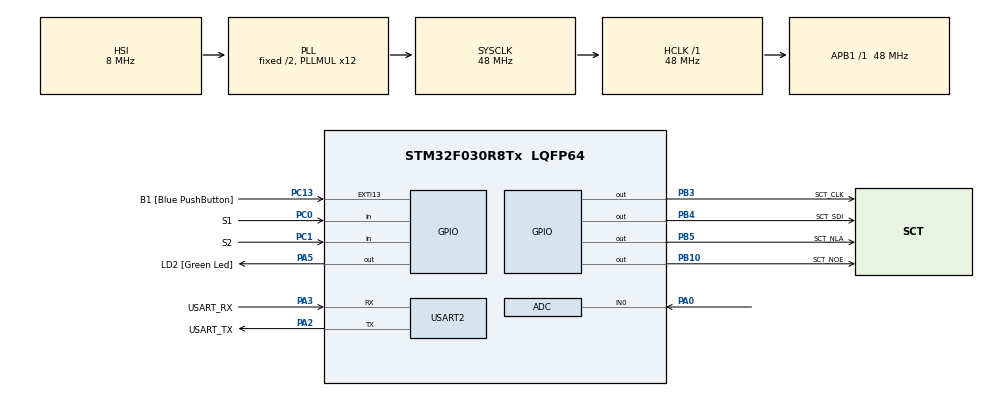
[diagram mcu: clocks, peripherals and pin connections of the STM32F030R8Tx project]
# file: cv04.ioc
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ADC.ContinuousConvMode=ENABLE
ADC.Overrun=ADC_OVR_DATA_OVERWRITTEN
ADC.SamplingTime=ADC_SAMPLETIME_239CYCLES_5
Mcu.Family=STM32F0
Mcu.Name=STM32F030R8Tx
Mcu.Package=LQFP64
NVIC.ADC1_IRQn=true\:0\:0\:false\:false\:true\:true\:true
PA0.Mode=IN0
PA0.Signal=ADC_IN0
PA13.GPIO_Label=TMS
PA13.Mode=Serial_Wire
PA13.Signal=SYS_SWDIO
PA14.GPIO_Label=TCK
PA14.Mode=Serial_Wire
PA14.Signal=SYS_SWCLK
PA2.GPIO_Label=USART_TX
PA2.GPIO_Mode=GPIO_MODE_AF_PP
PA2.GPIO_PuPd=GPIO_NOPULL
PA2.GPIO_Speed=GPIO_SPEED_FREQ_LOW
PA2.Mode=Asynchronous
PA2.Signal=USART2_TX
PA3.GPIO_Label=USART_RX
PA3.GPIO_Mode=GPIO_MODE_AF_PP
PA3.GPIO_PuPd=GPIO_NOPULL
PA3.GPIO_Speed=GPIO_SPEED_FREQ_LOW
PA3.Mode=Asynchronous
PA3.Signal=USART2_RX
PA5.GPIO_Label=LD2 [Green Led]
PA5.GPIO_Mode=GPIO_MODE_OUTPUT_PP
PA5.GPIO_PuPd=GPIO_NOPULL
PA5.GPIO_Speed=GPIO_SPEED_FREQ_LOW
PA5.Signal=GPIO_Output
PB10.GPIO_Label=SCT_NOE
PB10.Signal=GPIO_Output
PB3.GPIO_Label=SCT_CLK
PB3.Signal=GPIO_Output
PB4.GPIO_Label=SCT_SDI
PB4.Signal=GPIO_Output
PB5.GPIO_Label=SCT_NLA
PB5.Signal=GPIO_Output
PC0.GPIO_Label=S1
PC0.GPIO_PuPd=GPIO_PULLUP
PC0.Signal=GPIO_Input
PC1.GPIO_Label=S2
PC1.GPIO_PuPd=GPIO_PULLUP
PC1.Signal=GPIO_Input
PC13.GPIO_Label=B1 [Blue PushButton]
PC13.GPIO_ModeDefaultEXTI=GPIO_MODE_IT_FALLING
PC13.Signal=GPXTI13
PC14-OSC32_IN.Mode=LSE-External-Oscillator
PC14-OSC32_IN.Signal=RCC_OSC32_IN
PC15-OSC32_OUT.Mode=LSE-External-Oscillator
PC15-OSC32_OUT.Signal=RCC_OSC32_OUT
PF0-OSC_IN.Mode=HSE-External-Clock-Source
PF0-OSC_IN.Signal=RCC_OSC_IN
PF1-OSC_OUT.Signal=RCC_OSC_OUT
ProjectManager.HeapSize=0x200
ProjectManager.StackSize=0x400
ProjectManager.TargetToolchain=STM32CubeIDE
RCC.AHBFreq_Value=48000000
RCC.APB1Freq_Value=48000000
RCC.APB1TimFreq_Value=48000000
RCC.HCLKFreq_Value=48000000
RCC.PLLMUL=RCC_PLL_MUL12
RCC.SYSCLKFreq_VALUE=48000000
RCC.SYSCLKSource=RCC_SYSCLKSOURCE_PLLCLK
USART2.VirtualMode-Asynchronous=VM_ASYNC
VP_ADC_TempSens_Input.Mode=IN-TempSens
VP_ADC_Vref_Input.Mode=IN-Vrefint
board=NUCLEO-F030R8

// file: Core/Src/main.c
/* USER CODE BEGIN Header */
/**
 ******************************************************************************
 * @file           : main.c
 * @brief          : Main program body
 ******************************************************************************
 * @attention
 *
 * <h2><center>&copy; Copyright (c) 2020 STMicroelectronics.
 * All rights reserved.</center></h2>
 *
 * This software component is licensed by ST under BSD 3-Clause license,
 * the "License"; You may not use this file except in compliance with the
 * License. You may obtain a copy of the License at:
 *                        opensource.org/licenses/BSD-3-Clause
 *
 ******************************************************************************
 */
/* USER CODE END Header */

#include "main.h"

/* USER CODE BEGIN Includes */
#include "sct.h"
/* USER CODE END Includes */

/* USER CODE BEGIN PD */
#define ADC_Q 12
#define TEMP110_CAL_ADDR ((uint16_t*) ((uint32_t) 0x1FFFF7C2))
#define TEMP30_CAL_ADDR ((uint16_t*) ((uint32_t) 0x1FFFF7B8))
#define VREFINT_CAL_ADDR ((uint16_t*) ((uint32_t) 0x1FFFF7BA))
/* USER CODE END PD */

ADC_HandleTypeDef hadc;

UART_HandleTypeDef huart2;

/* USER CODE BEGIN PV */
static volatile uint32_t raw_pot;
static volatile uint32_t raw_volt;
static volatile uint32_t raw_temp;

/* USER CODE END PV */

void SystemClock_Config(void);
static void MX_GPIO_Init(void);
static void MX_USART2_UART_Init(void);
static void MX_ADC_Init(void);

int main(void)
{

	/* MCU Configuration--------------------------------------------------------*/

	/* Reset of all peripherals, Initializes the Flash interface and the Systick. */
	HAL_Init();

	/* Configure the system clock */
	SystemClock_Config();

	/* Initialize all configured peripherals */
	MX_GPIO_Init();
	MX_USART2_UART_Init();
	MX_ADC_Init();
	/* USER CODE BEGIN 2 */
	HAL_ADCEx_Calibration_Start(&hadc);
	sct_init();
	HAL_ADC_Start_IT(&hadc);
	/* USER CODE END 2 */

	/* Infinite loop */
	while (1)
	{

		/* USER CODE BEGIN 3 */
		static enum { SHOW_POT, SHOW_VOLT, SHOW_TEMP } state = SHOW_POT;
		static uint32_t Tick;

		if (HAL_GPIO_ReadPin(S1_GPIO_Port,S1_Pin) == 0)
		{
			state = SHOW_VOLT;
			Tick = HAL_GetTick();
		}
		if (HAL_GPIO_ReadPin(S2_GPIO_Port,S2_Pin) == 0)
		{
			state = SHOW_TEMP;
			Tick = HAL_GetTick();
		}

		if (state == SHOW_POT)
		{
			sct_value((raw_pot*500)/4096,(raw_pot*9)/4096);
			HAL_Delay(50);
		}

		else if (state == SHOW_VOLT)
		{
			uint32_t voltage = 330 * (*VREFINT_CAL_ADDR) / raw_volt;
			sct_value(voltage,(voltage*9)/4096);
			HAL_Delay(50);
			state = SHOW_VOLT;
			if (HAL_GetTick() > (1000+Tick))
				state = SHOW_POT;
		}

		else if (state == SHOW_TEMP)
		{
			int32_t temperature = (raw_temp - (int32_t)(*TEMP30_CAL_ADDR));
			temperature = temperature * (int32_t)(110 - 30);
			temperature = temperature / (int32_t)(*TEMP110_CAL_ADDR - *TEMP30_CAL_ADDR);
			temperature = temperature + 30;
			sct_value(temperature,(temperature*9)/4096);
			HAL_Delay(50);
			state = SHOW_TEMP;
			if (HAL_GetTick() > (1000+Tick))
				state = SHOW_POT;
		}
	}
	/* USER CODE END 3 */
}

void SystemClock_Config(void)
{
	RCC_OscInitTypeDef RCC_OscInitStruct = {0};
	RCC_ClkInitTypeDef RCC_ClkInitStruct = {0};

	/** Initializes the CPU, AHB and APB busses clocks
	 */
	RCC_OscInitStruct.OscillatorType = RCC_OSCILLATORTYPE_HSI|RCC_OSCILLATORTYPE_HSI14;
	RCC_OscInitStruct.HSIState = RCC_HSI_ON;
	RCC_OscInitStruct.HSI14State = RCC_HSI14_ON;
	RCC_OscInitStruct.HSICalibrationValue = RCC_HSICALIBRATION_DEFAULT;
	RCC_OscInitStruct.HSI14CalibrationValue = 16;
	RCC_OscInitStruct.PLL.PLLState = RCC_PLL_ON;
	RCC_OscInitStruct.PLL.PLLSource = RCC_PLLSOURCE_HSI;
	RCC_OscInitStruct.PLL.PLLMUL = RCC_PLL_MUL12;
	RCC_OscInitStruct.PLL.PREDIV = RCC_PREDIV_DIV1;
	if (HAL_RCC_OscConfig(&RCC_OscInitStruct) != HAL_OK)
	{
		Error_Handler();
	}
	/** Initializes the CPU, AHB and APB busses clocks
	 */
	RCC_ClkInitStruct.ClockType = RCC_CLOCKTYPE_HCLK|RCC_CLOCKTYPE_SYSCLK
			|RCC_CLOCKTYPE_PCLK1;
	RCC_ClkInitStruct.SYSCLKSource = RCC_SYSCLKSOURCE_PLLCLK;
	RCC_ClkInitStruct.AHBCLKDivider = RCC_SYSCLK_DIV1;
	RCC_ClkInitStruct.APB1CLKDivider = RCC_HCLK_DIV1;

	if (HAL_RCC_ClockConfig(&RCC_ClkInitStruct, FLASH_LATENCY_1) != HAL_OK)
	{
		Error_Handler();
	}
}

static void MX_ADC_Init(void)
{

	ADC_ChannelConfTypeDef sConfig = {0};

	/** Configure the global features of the ADC (Clock, Resolution, Data Alignment and number of conversion)
	 */
	hadc.Instance = ADC1;
	hadc.Init.ClockPrescaler = ADC_CLOCK_ASYNC_DIV1;
	hadc.Init.Resolution = ADC_RESOLUTION_12B;
	hadc.Init.DataAlign = ADC_DATAALIGN_RIGHT;
	hadc.Init.ScanConvMode = ADC_SCAN_DIRECTION_FORWARD;
	hadc.Init.EOCSelection = ADC_EOC_SINGLE_CONV;
	hadc.Init.LowPowerAutoWait = DISABLE;
	hadc.Init.LowPowerAutoPowerOff = DISABLE;
	hadc.Init.ContinuousConvMode = ENABLE;
	hadc.Init.DiscontinuousConvMode = DISABLE;
	hadc.Init.ExternalTrigConv = ADC_SOFTWARE_START;
	hadc.Init.ExternalTrigConvEdge = ADC_EXTERNALTRIGCONVEDGE_NONE;
	hadc.Init.DMAContinuousRequests = DISABLE;
	hadc.Init.Overrun = ADC_OVR_DATA_OVERWRITTEN;
	if (HAL_ADC_Init(&hadc) != HAL_OK)
	{
		Error_Handler();
	}
	/** Configure for the selected ADC regular channel to be converted.
	 */
	sConfig.Channel = ADC_CHANNEL_0;
	sConfig.Rank = ADC_RANK_CHANNEL_NUMBER;
	sConfig.SamplingTime = ADC_SAMPLETIME_239CYCLES_5;
	if (HAL_ADC_ConfigChannel(&hadc, &sConfig) != HAL_OK)
	{
		Error_Handler();
	}
	/** Configure for the selected ADC regular channel to be converted.
	 */
	sConfig.Channel = ADC_CHANNEL_TEMPSENSOR;
	if (HAL_ADC_ConfigChannel(&hadc, &sConfig) != HAL_OK)
	{
		Error_Handler();
	}
	/** Configure for the selected ADC regular channel to be converted.
	 */
	sConfig.Channel = ADC_CHANNEL_VREFINT;
	if (HAL_ADC_ConfigChannel(&hadc, &sConfig) != HAL_OK)
	{
		Error_Handler();
	}

}

static void MX_USART2_UART_Init(void)
{

	huart2.Instance = USART2;
	huart2.Init.BaudRate = 38400;
	huart2.Init.WordLength = UART_WORDLENGTH_8B;
	huart2.Init.StopBits = UART_STOPBITS_1;
	huart2.Init.Parity = UART_PARITY_NONE;
	huart2.Init.Mode = UART_MODE_TX_RX;
	huart2.Init.HwFlowCtl = UART_HWCONTROL_NONE;
	huart2.Init.OverSampling = UART_OVERSAMPLING_16;
	huart2.Init.OneBitSampling = UART_ONE_BIT_SAMPLE_DISABLE;
	huart2.AdvancedInit.AdvFeatureInit = UART_ADVFEATURE_NO_INIT;
	if (HAL_UART_Init(&huart2) != HAL_OK)
	{
		Error_Handler();
	}

}

static void MX_GPIO_Init(void)
{
	GPIO_InitTypeDef GPIO_InitStruct = {0};

	/* GPIO Ports Clock Enable */
	__HAL_RCC_GPIOC_CLK_ENABLE();
	__HAL_RCC_GPIOF_CLK_ENABLE();
	__HAL_RCC_GPIOA_CLK_ENABLE();
	__HAL_RCC_GPIOB_CLK_ENABLE();

	/*Configure GPIO pin Output Level */
	HAL_GPIO_WritePin(LD2_GPIO_Port, LD2_Pin, GPIO_PIN_RESET);

	/*Configure GPIO pin Output Level */
	HAL_GPIO_WritePin(GPIOB, SCT_NOE_Pin|SCT_CLK_Pin|SCT_SDI_Pin|SCT_NLA_Pin, GPIO_PIN_RESET);

	/*Configure GPIO pin : B1_Pin */
	GPIO_InitStruct.Pin = B1_Pin;
	GPIO_InitStruct.Mode = GPIO_MODE_IT_FALLING;
	GPIO_InitStruct.Pull = GPIO_NOPULL;
	HAL_GPIO_Init(B1_GPIO_Port, &GPIO_InitStruct);

	/*Configure GPIO pins : S1_Pin S2_Pin */
	GPIO_InitStruct.Pin = S1_Pin|S2_Pin;
	GPIO_InitStruct.Mode = GPIO_MODE_INPUT;
	GPIO_InitStruct.Pull = GPIO_PULLUP;
	HAL_GPIO_Init(GPIOC, &GPIO_InitStruct);

	/*Configure GPIO pin : LD2_Pin */
	GPIO_InitStruct.Pin = LD2_Pin;
	GPIO_InitStruct.Mode = GPIO_MODE_OUTPUT_PP;
	GPIO_InitStruct.Pull = GPIO_NOPULL;
	GPIO_InitStruct.Speed = GPIO_SPEED_FREQ_LOW;
	HAL_GPIO_Init(LD2_GPIO_Port, &GPIO_InitStruct);

	/*Configure GPIO pins : SCT_NOE_Pin SCT_CLK_Pin SCT_SDI_Pin SCT_NLA_Pin */
	GPIO_InitStruct.Pin = SCT_NOE_Pin|SCT_CLK_Pin|SCT_SDI_Pin|SCT_NLA_Pin;
	GPIO_InitStruct.Mode = GPIO_MODE_OUTPUT_PP;
	GPIO_InitStruct.Pull = GPIO_NOPULL;
	GPIO_InitStruct.Speed = GPIO_SPEED_FREQ_LOW;
	HAL_GPIO_Init(GPIOB, &GPIO_InitStruct);

}

/* USER CODE BEGIN 4 */

void HAL_ADC_ConvCpltCallback(ADC_HandleTypeDef* hadc)
{
	static uint32_t channel;

	if (channel == 0)
	{
		raw_pot = HAL_ADC_GetValue(hadc);
		static uint32_t avg_pot;
		raw_pot = avg_pot >> ADC_Q;
		avg_pot -= raw_pot;
		avg_pot += HAL_ADC_GetValue(hadc);
	}
	else if (channel == 1)
	{
		raw_temp = HAL_ADC_GetValue(hadc);
	}
	else if (channel == 2)
	{
		raw_volt = HAL_ADC_GetValue(hadc);
	}

	if (__HAL_ADC_GET_FLAG(hadc, ADC_FLAG_EOS)) channel = 0;
	else channel++;
}
/* USER CODE END 4 */

void Error_Handler(void)
{
}

/************************ (C) COPYRIGHT STMicroelectronics *****END OF FILE****/
